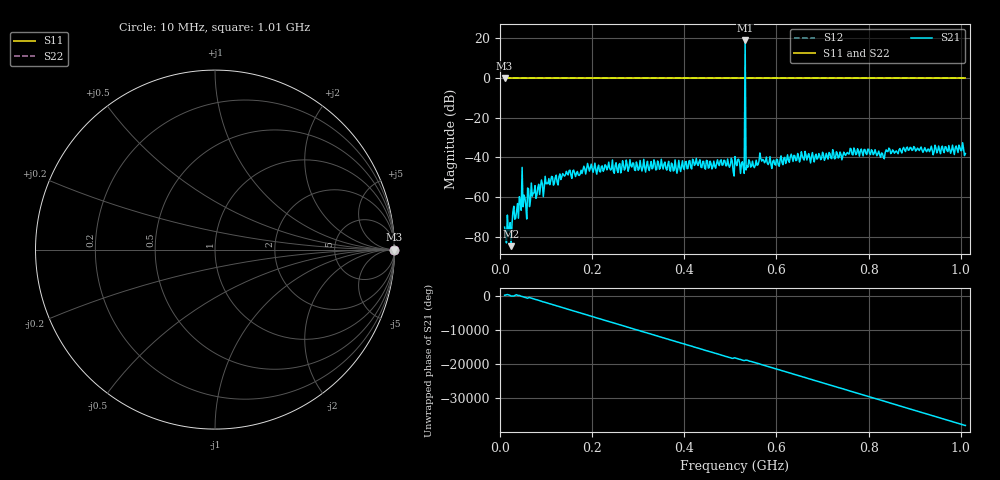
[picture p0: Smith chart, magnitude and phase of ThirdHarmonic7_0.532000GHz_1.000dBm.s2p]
! 8/17/2025 3:50:20 PM
! C:\ANRITSUVNA\TEMP\TEMP.S2P
! CHANNEL.1
! TR.MEASUREMENT
! RAW.DATA
! RF.CORRECTION.OFF
! AVERAGING.OFF
! IF.BANDWIDTH: 5KHZ
! SWEEPTYPE:  FREQ.SWEEP(Linear)
! Reference Plane Port Info
! PORT:  PORT1  PORT2
! DISTANCE:  0  m  0  m
! TIME:  0  s  0  s
! PHASE.OFFSET:  0  deg.  0  deg.
! LOSS:  0  dB  0  dB
! REF.LOSS:  0  dB  0  dB
! REF.FREQ:  0  Hz  0  Hz
! Power Info
! POWER:  -20  dBm  -20  dBm
! EFF.POWER:  -20  dBm  -20  dBm
! SOURCE.ATTEN:  0  dB  0  dB
! TEST.ATTEN:  0  dB  0  dB
# GHZ S RI R 50.0
! FREQ.GHZ  S11RE  S11IM  S21RE  S21IM  S12RE  S12IM  S22RE  S22IM
!; PortSelection: Port_12
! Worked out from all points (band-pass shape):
!   501 points, 10 MHz to 1.01 GHz, reference 50 ohm
!   highest |S21| = 18.78 dB at 532 MHz (marker M1); lowest = -84.5 dB at 24 MHz (marker M2)
!   |S21| within 3 dB of the highest: 531.9101 MHz to 532.0923 MHz (182.1 kHz wide, 0.0342 % of centre)
!   lowest |S11| = 0.0 dB at 10 MHz (marker M3)
!   |S11| at or under -10 dB: nowhere
!   |S22| runs from 0.0 to 0.0 dB; largest |S21 - S12| = 9.7
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0.01  1 0  -6.56e-05 0.000166  1 0  1 0
0.024  1 0  -7.9e-06 -5.88e-05  1 0  1 0
0.046  1 0  -0.000399 0.000256  1 0  1 0
0.052  1 0  0.000615 -0.000956  1 0  1 0
0.054  1 0  -0.000972 0.000131  1 0  1 0
0.064  1 0  -0.000488 0.000322  1 0  1 0
0.102  1 0  0.0021 0.000817  1 0  1 0
0.178  1 0  -0.00377 -0.00123  1 0  1 0
0.344  1 0  0.00661 -0.00303  1 0  1 0
0.51  1 0  -0.0105 0.000215  1 0  1 0
0.514  1 0  0.0057 0.00253  1 0  1 0
0.526  1 0  -0.00339 -0.00705  1 0  1 0
0.528  1 0  -0.0058 0.000492  1 0  1 0
0.532  1 0  -8.536 -1.644  1 0  1 0
0.536  1 0  -0.00492 -0.00385  1 0  1 0
0.538  1 0  -0.00506 0.00266  1 0  1 0
0.568  1 0  0.00776 0.00234  1 0  1 0
0.594  1 0  0.0055 0.00661  1 0  1 0
0.678  1 0  0.00409 -0.0127  1 0  1 0
0.844  1 0  -0.00425 0.0167  1 0  1 0
1  1 0  0.00722 -0.013  1 0  1 0
1.01  1 0  0.00273 -0.0123  1 0  1 0
